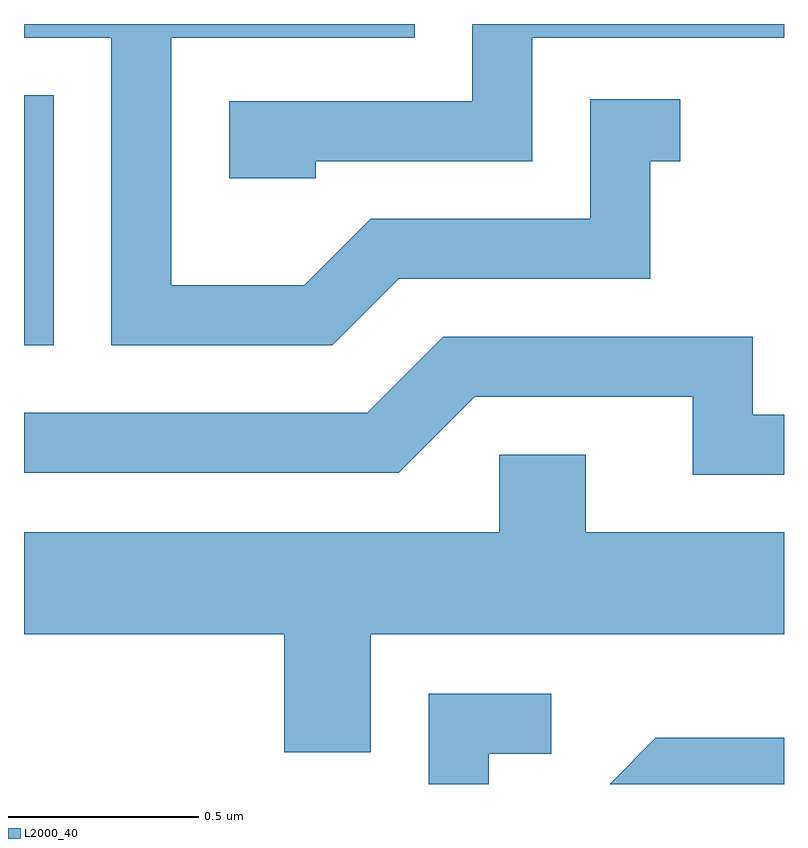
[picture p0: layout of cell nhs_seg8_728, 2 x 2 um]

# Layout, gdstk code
import gdstk
lib = gdstk.Library(unit=1e-6, precision=1e-09)
def R(c, l, rs):  # rectangles x0, y0, x1, y1
    for r in rs: c.add(gdstk.rectangle(r[:2], r[2:], *l))
def P(c, l, *ps):  # polygons
    for p in ps: c.add(gdstk.Polygon(p, *l))
L2000_40 = (2000, 40)

nhs_seg8_728 = lib.new_cell('nhs_seg8_728')
R(nhs_seg8_728, L2000_40, [(190.611,1850.496,190.689,1851.154)])
P(nhs_seg8_728, L2000_40, [(191.597,1850.671),(192.259,1850.671),(192.259,1850.981),(192.338,1850.981),(192.338,1851.144),(192.101,1851.144),(192.101,1850.829),(191.524,1850.829),(191.349,1850.654),(190.999,1850.654),(190.999,1851.306),(191.639,1851.306),(191.639,1851.342),(190.611,1851.342),(190.611,1851.306),(190.841,1851.306),(190.841,1850.496),(191.422,1850.496)],
  [(191.379,1850.981),(191.949,1850.981),(191.949,1851.306),(192.611,1851.306),(192.611,1851.342),(191.791,1851.342),(191.791,1851.139),(191.151,1851.139),(191.151,1850.936),(191.379,1850.936)],
  [(192.611,1850.314),(192.529,1850.314),(192.529,1850.519),(191.714,1850.519),(191.514,1850.319),(190.611,1850.319),(190.611,1850.161),(191.597,1850.161),(191.797,1850.361),(192.371,1850.361),(192.371,1850.156),(192.611,1850.156)],
  [(191.524,1849.736),(192.611,1849.736),(192.611,1850.004),(192.089,1850.004),(192.089,1850.209),(191.861,1850.209),(191.861,1850.004),(190.611,1850.004),(190.611,1849.736),(191.296,1849.736),(191.296,1849.426),(191.524,1849.426)],
  [(191.834,1849.421),(191.998,1849.421),(191.998,1849.579),(191.676,1849.579),(191.676,1849.342),(191.834,1849.342)],
  [(192.611,1849.464),(192.274,1849.464),(192.152,1849.342),(192.611,1849.342)])

lib.write_gds('nhs_seg8_728.gds')
